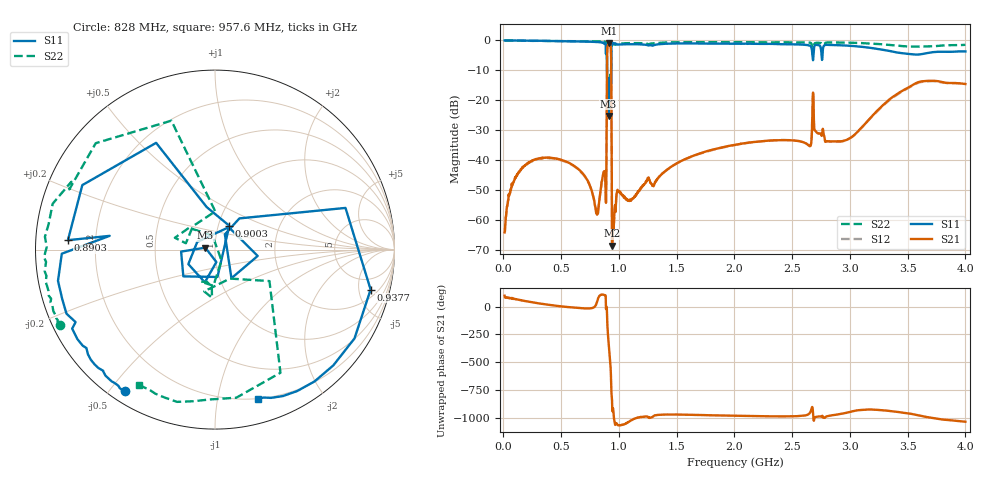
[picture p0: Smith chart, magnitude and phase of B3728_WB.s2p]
! Matrix data file written by TouchstoneData, EPCOS AG
! FILENAME: "B3728_WB.s2p"
! COMMENT: "PINNING 2/5; PCB NEW DCC6C ML; PORTEX 1=85PS"
! INFO: nport=2, nfreq=1601
! DATE: "Thu Sep  3 09:31:11 2009"
! USER: "Sergey Rostovtsev"
! port | pin | signal
!  1  |  2  |  in
!  2  |  5  |  out
# MHZ S MA R 50
! freq  magS11 angS11  magS21 angS21  magS12 angS12  magS22 angS22
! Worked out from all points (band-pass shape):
!   1601 points, 10 MHz to 4 GHz, reference 50 ohm
!   highest |S21| = -0.89 dB at 912.7 MHz (marker M1); lowest = -68.7 dB at 940.2 MHz (marker M2)
!   |S21| within 3 dB of the highest: 898.6 MHz to 931 MHz (32.34 MHz wide, 3.53 % of centre)
!   lowest |S11| = -25.2 dB at 910.2 MHz (marker M3), VSWR 1.12, Z = 44.9 + j0.969 ohm
!   |S11| at or under -10 dB: 897.1 MHz to 933.4 MHz (36.29 MHz wide, 3.96 % of centre)
!   |S22| runs from -23.0 to 0.0 dB; largest |S21 - S12| = 0.0064
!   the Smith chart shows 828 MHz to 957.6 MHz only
!   S11 on the Smith chart (normalised r, x): 828 MHz: 0.04, -0.55; 890.3 MHz: 0.10, +0.03; 900.3 MHz: 1.13, +0.31; 937.7 MHz: 2.96, -6.62; 957.6 MHz: 0.19, -1.31
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10  0.9994 -1.6  0.0006173 98.9  0.0006221 98.8  0.9993 -3.0
79.825  0.9979 -12.3  0.004069 73.0  0.004028 72.8  0.9966 -23.5
211.9938  0.9916 -31.9  0.008924 47.0  0.008806 46.7  0.986 -58.2
675.8312  0.9598 -94.5  0.006289 -14.0  0.006176 -13.8  0.9701 -131.6
827.95  0.9356 -122.5  0.001846 92.3  0.00183 92.5  0.9631 -154.0
872.8375  0.9095 -151.0  0.006428 105.5  0.006394 105.5  0.9439 -175.8
890.2938  0.8211 176.3  0.004034 -3.0  0.00403 -3.1  0.8781 157.5
900.2687  0.1549 59.0  0.7708 -174.1  0.7656 -174.2  0.1795 133.2
910.2437  0.05484 168.7  0.8944 40.2  0.8886 40.1  0.08043 100.2
912.7375  0.06973 -83.8  0.9023 9.9  0.8959 9.9  0.07113 -59.4
937.675  0.8951 -14.4  0.007858 -86.6  0.007733 -86.3  0.8336 -81.8
940.1688  0.9214 -32.5  0.0003689 -125.1  0.0003634 -125.2  0.8357 -92.1
957.625  0.8677 -73.9  0.0009508 67.1  0.000942 67.5  0.8625 -119.3
995.0312  0.8555 -96.0  0.003028 10.9  0.00303 11.3  0.8766 -132.7
1052.388  0.8634 -106.9  0.002325 21.6  0.002324 22.1  0.8977 -140.7
1341.662  0.864 -128.5  0.005118 104.1  0.005092 104.0  0.9124 -156.2
2005  0.8801 -163.5  0.01797 95.9  0.01782 96.6  0.9348 179.7
2643.4  0.8297 165.2  0.01757 111.4  0.01752 110.6  0.9245 159.6
2670.831  0.6942 154.0  0.02959 171.0  0.02934 171.6  0.8195 150.1
2962.6  0.8218 158.7  0.02148 121.3  0.02132 121.6  0.9198 156.3
3336.662  0.6699 139.2  0.1014 140.0  0.09816 140.1  0.8456 146.9
4000  0.6559 107.5  0.1868 42.6  0.1891 43.2  0.8443 138.4
